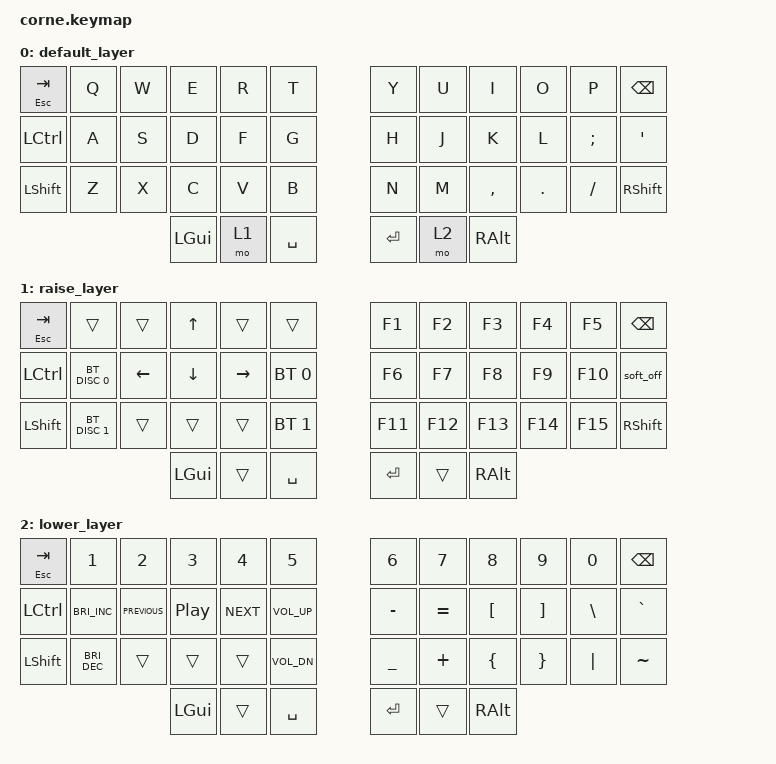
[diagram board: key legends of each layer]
/*
 * Copyright (c) 2020 The ZMK Contributors
 *
 * SPDX-License-Identifier: MIT
 */

#include <behaviors.dtsi>
#include <dt-bindings/zmk/bt.h>
#include <dt-bindings/zmk/keys.h>

&soft_off {
    hold-time-ms = <2000>; // Only turn off it the key is held for 5 seconds or longer.
};

/ {
    combos { compatible = "zmk,combos"; };

    keymap {
        compatible = "zmk,keymap";

        default_layer {
            // -----------------------------------------------------------------------------------------
            // |  TAB |  Q  |  W  |  E  |  R  |  T  |   |  Y  |  U   |  I  |  O  |  P  | BKSP |
            // | CTRL |  A  |  S  |  D  |  F  |  G  |   |  H  |  J   |  K  |  L  |  ;  |  '   |
            // | SHFT |  Z  |  X  |  C  |  V  |  B  |   |  N  |  M   |  ,  |  .  |  /  | ESC  |
            //                    | GUI | LWR | SPC |   | ENT | RSE  | ALT |

            bindings = <
&mt ESC TAB  &kp Q  &kp W  &kp E     &kp R  &kp T        &kp Y    &kp U  &kp I      &kp O    &kp P     &kp BSPC
&kp LCTRL    &kp A  &kp S  &kp D     &kp F  &kp G        &kp H    &kp J  &kp K      &kp L    &kp SEMI  &kp SQT
&kp LSHFT    &kp Z  &kp X  &kp C     &kp V  &kp B        &kp N    &kp M  &kp COMMA  &kp DOT  &kp FSLH  &kp RSHFT
                           &kp LGUI  &mo 1  &kp SPACE    &kp RET  &mo 2  &kp RALT
            >;
        };

        raise_layer {
            // -----------------------------------------------------------------------------------------
            // |  TAB |  !  |  @  |  #  |  $  |  %  |   |  ^  |  &  |  *  |  (  |  )  | BKSP |
            // | CTRL |     |     |     |     |     |   |  -  |  =  |  [  |  ]  |  \  |  `   |
            // | SHFT |     |     |     |     |     |   |  _  |  +  |  {  |  }  | "|" |  ~   |
            //                    | GUI |     | SPC |   | ENT |     | ALT |

            bindings = <
&mt ESC TAB  &trans         &trans    &kp UP    &trans     &trans          &kp F1     &kp F2   &kp F3    &kp F4   &kp F5   &kp BSPC
&kp LCTRL    &bt BT_DISC 0  &kp LEFT  &kp DOWN  &kp RIGHT  &bt BT_SEL 0    &kp F6     &kp F7   &kp F8    &kp F9   &kp F10  &soft_off
&kp LSHIFT   &bt BT_DISC 1  &trans    &trans    &trans     &bt BT_SEL 1    &kp F11    &kp F12  &kp F13   &kp F14  &kp F15  &kp RSHFT
                                      &kp LGUI  &trans     &kp SPACE       &kp ENTER  &trans   &kp RALT
            >;
        };

        lower_layer {
            // -----------------------------------------------------------------------------------------
            // |  TAB |  1  |  2  |  3  |  4  |  5  |   |  6  |  7  |  8  |  9  |  0  | BKSP |
            // | BTCLR| BT1 | BT2 | BT3 | BT4 | BT5 |   | LFT | DWN |  UP | RGT |     |      |
            // | SHFT |     |     |     |     |     |   |     |     |     |     |     |      |
            //                    | GUI |     | SPC |   | ENT |     | ALT |

            bindings = <
&mt ESC TAB  &kp N1                &kp N2          &kp N3            &kp N4      &kp N5             &kp N6          &kp N7     &kp N8            &kp N9             &kp N0         &kp BSPC
&kp LCTRL    &kp C_BRIGHTNESS_INC  &kp C_PREVIOUS  &kp C_PLAY_PAUSE  &kp C_NEXT  &kp C_VOLUME_UP    &kp MINUS       &kp EQUAL  &kp LEFT_BRACKET  &kp RIGHT_BRACKET  &kp BACKSLASH  &kp GRAVE
&kp LSHFT    &kp C_BRIGHTNESS_DEC  &trans          &trans            &trans      &kp C_VOL_DN       &kp UNDERSCORE  &kp PLUS   &kp LEFT_BRACE    &kp RIGHT_BRACE    &kp PIPE       &kp TILDE
                                                   &kp LGUI          &trans      &kp SPACE          &kp RET         &trans     &kp RALT
            >;
        };
    };
};
